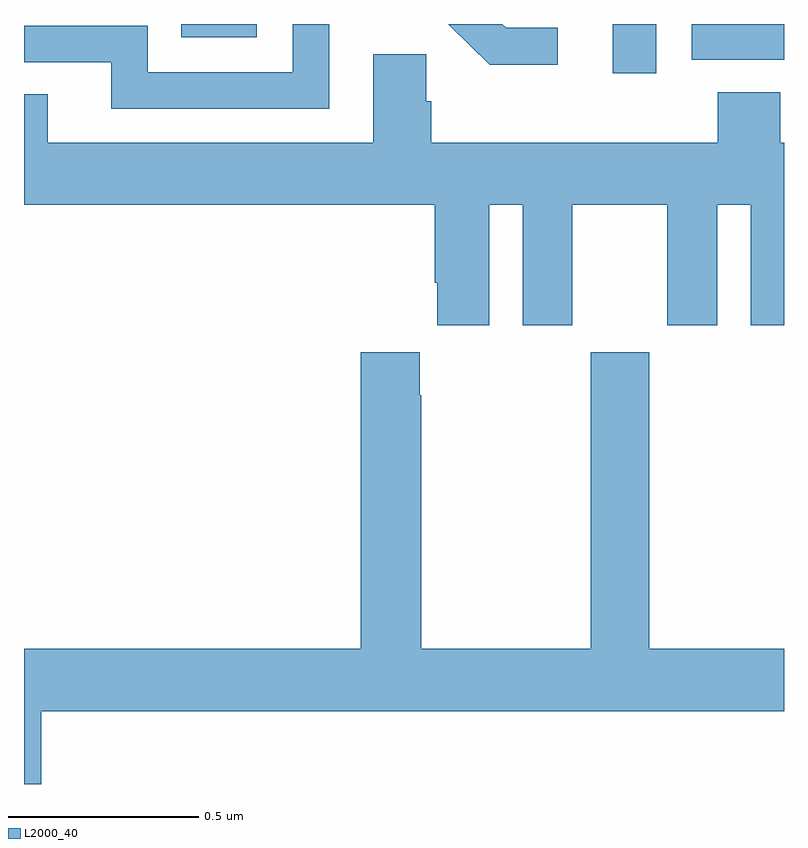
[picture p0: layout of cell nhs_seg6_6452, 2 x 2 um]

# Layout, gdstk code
import gdstk
lib = gdstk.Library(unit=1e-6, precision=1e-09)
def R(c, l, rs):  # rectangles x0, y0, x1, y1
    for r in rs: c.add(gdstk.rectangle(r[:2], r[2:], *l))
def P(c, l, *ps):  # polygons
    for p in ps: c.add(gdstk.Polygon(p, *l))
L2000_40 = (2000, 40)

nhs_seg6_6452 = lib.new_cell('nhs_seg6_6452')
R(nhs_seg6_6452, L2000_40, [(197.549,926.37,197.664,926.5), (197.757,926.406,198,926.5), (196.414,926.465,196.612,926.5)])
P(nhs_seg6_6452, L2000_40, [(196.803,926.5),(196.707,926.5),(196.707,926.373),(196.326,926.373),(196.326,926.496),(196,926.496),(196,926.4),(196.229,926.4),(196.229,926.277),(196.803,926.277)],
  [(197.404,926.49),(197.269,926.49),(197.259,926.5),(197.117,926.5),(197.225,926.393),(197.404,926.393)],
  [(197.072,926.297),(197.058,926.297),(197.058,926.42),(196.919,926.42),(196.919,926.188),(196.063,926.188),(196.063,926.315),(196,926.315),(196,926.024),(197.081,926.024),(197.081,925.819),(197.087,925.819),(197.087,925.707),(197.224,925.707),(197.224,926.024),(197.312,926.024),(197.312,925.707),(197.443,925.707),(197.443,926.024),(197.693,926.024),(197.693,925.707),(197.824,925.707),(197.824,926.024),(197.912,926.024),(197.912,925.707),(198,925.707),(198,926.188),(197.99,926.188),(197.99,926.321),(197.825,926.321),(197.825,926.188),(197.072,926.188)],
  [(196.046,924.692),(198,924.692),(198,924.856),(197.646,924.856),(197.646,925.636),(197.491,925.636),(197.491,924.856),(197.046,924.856),(197.046,925.523),(197.041,925.523),(197.041,925.636),(196.886,925.636),(196.886,924.856),(196,924.856),(196,924.5),(196.046,924.5)])

lib.write_gds('nhs_seg6_6452.gds')
